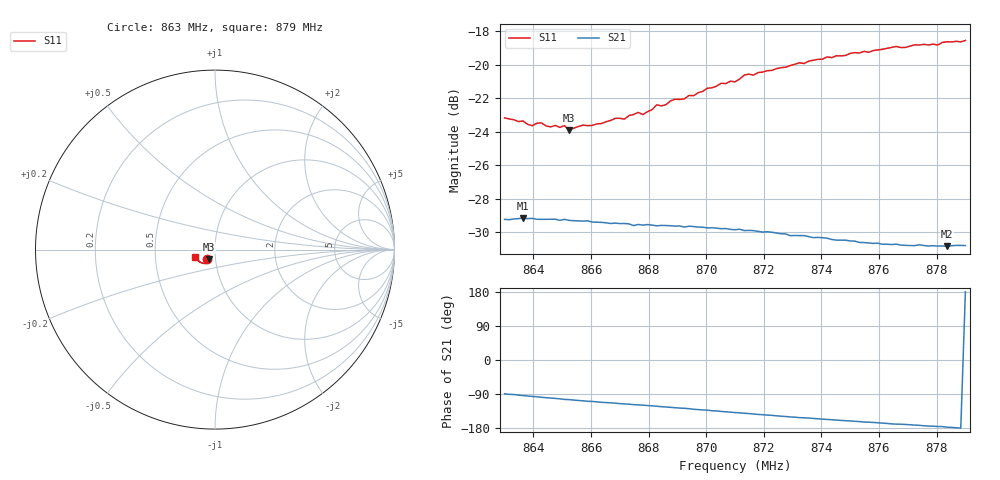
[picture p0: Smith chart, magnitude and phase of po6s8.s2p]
# HZ S RI R 50
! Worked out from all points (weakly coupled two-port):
!   101 points, 863 MHz to 879 MHz, reference 50 ohm
!   highest |S21| = -29.18 dB at 863.64 MHz (marker M1); lowest = -30.8 dB at 878.36 MHz (marker M2)
!   lowest |S11| = -23.9 dB at 865.24 MHz (marker M3), VSWR 1.14, Z = 46.4 - j4.95 ohm
!   |S11| at or under -10 dB: start of sweep to end of sweep
!   S12 and S22 are empty: the file has one direction only
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8.63e8  -0.0448 -0.0529  0.000547 -0.0345  0 0  0 0
8.6364e8  -0.0427 -0.0528  -0.00238 -0.0347  0 0  0 0
8.6396e8  -0.0389 -0.0529  -0.00373 -0.0345  0 0  0 0
8.6428e8  -0.0392 -0.0543  -0.00505 -0.0341  0 0  0 0
8.646e8  -0.0374 -0.0534  -0.00621 -0.0339  0 0  0 0
8.6492e8  -0.0422 -0.0494  -0.00743 -0.0335  0 0  0 0
8.6508e8  -0.0349 -0.0557  -0.00834 -0.0335  0 0  0 0
8.6524e8  -0.0349 -0.0532  -0.00861 -0.0332  0 0  0 0
8.6572e8  -0.0337 -0.0567  -0.0104 -0.0325  0 0  0 0
8.6716e8  -0.0313 -0.0612  -0.0146 -0.0302  0 0  0 0
8.6764e8  -0.0335 -0.0637  -0.0158 -0.0293  0 0  0 0
8.678e8  -0.0328 -0.0629  -0.0162 -0.0289  0 0  0 0
8.6828e8  -0.0345 -0.0675  -0.0174 -0.028  0 0  0 0
8.6844e8  -0.0347 -0.0669  -0.0181 -0.0277  0 0  0 0
8.7052e8  -0.045 -0.0756  -0.0232 -0.0226  0 0  0 0
8.71e8  -0.0474 -0.0751  -0.0241 -0.0212  0 0  0 0
8.7132e8  -0.0512 -0.0777  -0.0246 -0.0203  0 0  0 0
8.7372e8  -0.0707 -0.0751  -0.0274 -0.0132  0 0  0 0
8.7644e8  -0.0941 -0.0617  -0.0284 -0.00571  0 0  0 0
8.7804e8  -0.1035 -0.049  -0.0286 -0.00226  0 0  0 0
8.7836e8  -0.108 -0.0453  -0.0286 -0.00137  0 0  0 0
8.79e8  -0.1115 -0.039  -0.0288 3.9e-05  0 0  0 0
